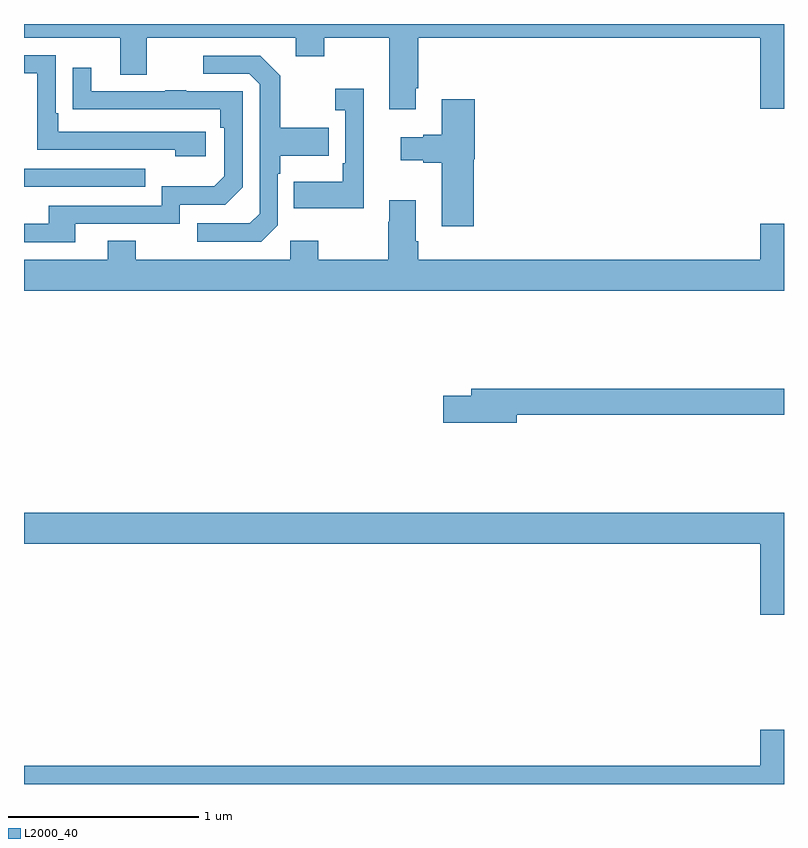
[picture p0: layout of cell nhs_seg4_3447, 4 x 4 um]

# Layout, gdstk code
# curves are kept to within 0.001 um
import gdstk
lib = gdstk.Library(unit=1e-6, precision=1e-09)
def R(c, l, rs):  # rectangles x0, y0, x1, y1
    for r in rs: c.add(gdstk.rectangle(r[:2], r[2:], *l))
def P(c, l, *ps):  # polygons
    for p in ps: c.add(gdstk.Polygon(p, *l))
L2000_40 = (2000, 40)

nhs_seg4_3447 = lib.new_cell('nhs_seg4_3447')
R(nhs_seg4_3447, L2000_40, [(293,788.043,293.639,788.139)])
P(nhs_seg4_3447, L2000_40, [(295.063,788.563),(295.076,788.563),(295.076,788.828),(296.876,788.828),(296.876,788.454),(297,788.454),(297,788.9),(293,788.9),(293,788.828),(293.507,788.828),(293.507,788.634),(293.647,788.634),(293.647,788.828),(294.431,788.828),(294.431,788.729),(294.579,788.729),(294.579,788.828),(294.923,788.828),(294.923,788.451),(295.063,788.451)],
  [(293.956,788.334),(293.179,788.334),(293.179,788.431),(293.166,788.431),(293.166,788.736),(293,788.736),(293,788.64),(293.07,788.64),(293.07,788.238),(293.795,788.238),(293.795,788.204),(293.956,788.204)],
  [(294.336,787.842),(294.336,788.111),(294.349,788.111),(294.349,788.207),(294.605,788.207),(294.605,788.355),(294.349,788.355),(294.349,788.627),(294.243,788.733),(293.943,788.733),(293.943,788.637),(294.186,788.637),(294.24,788.583),(294.24,787.902),(294.189,787.851),(293.913,787.851),(293.913,787.755),(294.249,787.755)],
  [(293.269,787.848),(293.82,787.848),(293.82,787.95),(294.06,787.95),(294.15,788.04),(294.15,788.547),(293.855,788.547),(293.855,788.552),(293.743,788.552),(293.743,788.547),(293.353,788.547),(293.353,788.671),(293.257,788.671),(293.257,788.452),(294.034,788.451),(294.034,788.354),(294.054,788.354),(294.054,788.1),(294.001,788.047),(293.724,788.047),(293.724,787.944),(293.129,787.944),(293.129,787.848),(293,787.848),(293,787.752),(293.269,787.752)],
  [(294.788,788.56),(294.639,788.56),(294.639,788.447),(294.69,788.447),(294.69,788.167),(294.678,788.167),(294.678,788.071),(294.421,788.071),(294.421,787.931),(294.788,787.931)],
  [(295.367,788.187),(295.372,788.187),(295.372,788.503),(295.199,788.503),(295.199,788.318),(295.1,788.318),(295.1,788.305),(294.984,788.305),(294.984,788.183),(295.1,788.183),(295.1,788.171),(295.199,788.171),(295.199,787.836),(295.367,787.836)],
  [(297,787.849),(296.876,787.849),(296.876,787.66),(295.076,787.66),(295.076,787.756),(295.063,787.756),(295.063,787.972),(294.923,787.972),(294.923,787.859),(294.916,787.859),(294.916,787.66),(294.549,787.66),(294.549,787.759),(294.402,787.759),(294.402,787.66),(293.589,787.66),(293.589,787.759),(293.441,787.759),(293.441,787.66),(293,787.66),(293,787.496),(297,787.496)],
  [(295.594,786.844),(297,786.844),(297,786.98),(295.355,786.98),(295.355,786.944),(295.206,786.944),(295.206,786.802),(295.594,786.802)],
  [(297,786.328),(293,786.328),(293,786.164),(296.876,786.164),(296.876,785.79),(297,785.79)],
  [(297,785.185),(296.876,785.185),(296.876,784.996),(293,784.996),(293,784.9),(297,784.9)])

lib.write_gds('nhs_seg4_3447.gds')
